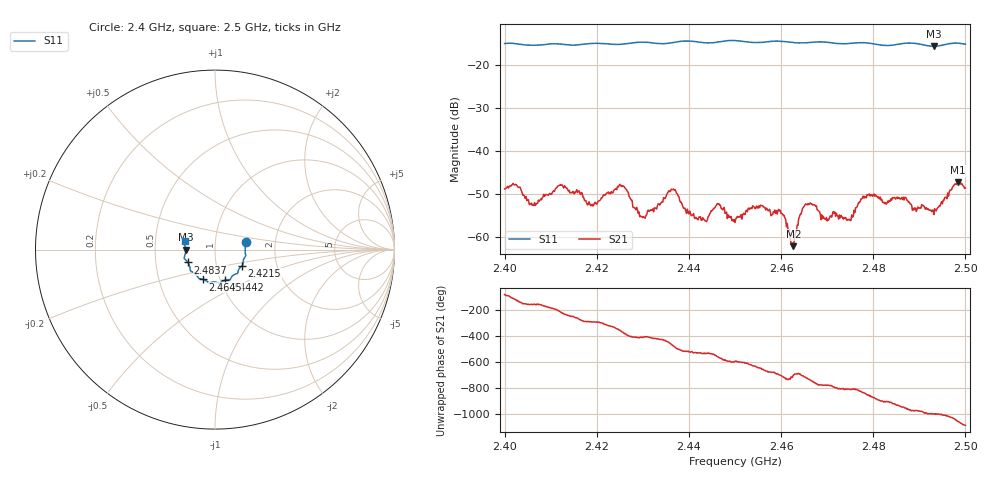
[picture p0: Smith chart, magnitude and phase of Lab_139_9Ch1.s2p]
# Hz S RI R
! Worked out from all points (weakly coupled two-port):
!   601 points, 2.4 GHz to 2.5 GHz, reference 50 ohm
!   highest |S21| = -47.40 dB at 2.4983 GHz (marker M1); lowest = -62.2 dB at 2.4627 GHz (marker M2)
!   lowest |S11| = -15.7 dB at 2.4932 GHz (marker M3), VSWR 1.39, Z = 35.9 - j0.0469 ohm
!   |S11| at or under -10 dB: start of sweep to end of sweep
!   S12 and S22 are empty: the file has one direction only
!   S11 on the Smith chart (normalised r, x): 2.4 GHz: 1.41, +0.12; 2.4215 GHz: 1.33, -0.25; 2.4442 GHz: 1.05, -0.37; 2.4645 GHz: 0.83, -0.29; 2.4837 GHz: 0.73, -0.11; 2.5 GHz: 0.71, +0.07
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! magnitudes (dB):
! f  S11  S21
! 2.4 GHz  -15.1  -48.9
! 2.4058 GHz  -15.5  -52.2
! 2.4167 GHz  -15.3  -49.8
! 2.4215 GHz  -15.1  -50.3
! 2.4255 GHz  -15.3  -48.4
! 2.43 GHz  -14.8  -55.6
! 2.4333 GHz  -15.1  -52.4
! 2.4367 GHz  -14.8  -48.9
! 2.4442 GHz  -15.0  -55.4
! 2.4463 GHz  -14.7  -52.4
! 2.45 GHz  -14.4  -56.7
! 2.4598 GHz  -14.6  -53.9
! 2.4627 GHz  -14.9  -62.2
! 2.4645 GHz  -15.0  -54.1
! 2.4667 GHz  -14.8  -52.4
! 2.4747 GHz  -15.1  -56.1
! 2.4787 GHz  -15.0  -50.2
! 2.4833 GHz  -15.6  -52.0
! 2.4837 GHz  -15.5  -51.8
! 2.4932 GHz  -15.7  -54.9
! 2.4983 GHz  -15.0  -47.4
! 2.5 GHz  -15.3  -48.7
